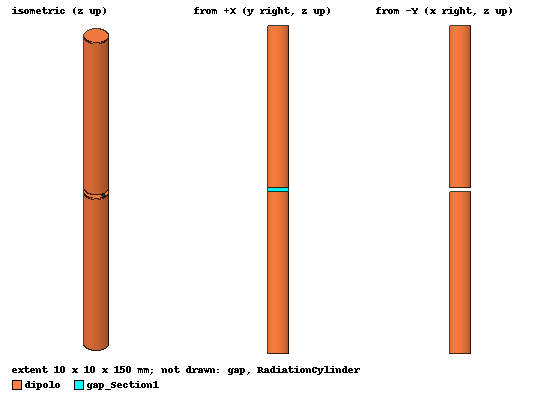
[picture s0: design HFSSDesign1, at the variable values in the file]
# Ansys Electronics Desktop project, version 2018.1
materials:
  vacuum: permittivity=1
  copper: permeability=0.999991 conductivity=58000000

design HFSSDesign1 (HFSS, DrivenModal, model units mm)
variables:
  largo = 15cm  # optimise 7.5cm..22.5cm
  gap = 0.2cm
  lambda = 120cm
  radio = largo/30
  length = largo cm
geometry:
  dipolo [copper] = cylinder(axis=Z, base_centre=(0mm, 0mm, -largo/2), radius=radio, height=largo)
  gap [vacuum] = cylinder(axis=Z, base_centre=(0mm, 0mm, -gap/2), radius=radio, height=gap)
  gap_1 = gap.copy()
  dipolo.subtract(gap_1)
  gap_Section1 = gap.section(plane=YZ)
  RadiationCylinder [vacuum] = cylinder(axis=Z, base_centre=(0mm, 0mm, -largo-1mm-lambda/4), radius=radio+lambda/4, height=largo*2+2mm+lambda/2)
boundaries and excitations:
  Rad1: Radiation Objects=RadiationCylinder
  1: Lumped Port Objects=gap_Section1 Modes{Mode1{IntLine{middle of gap_Section1.edge(at (0, 0, 1)) -> middle of gap_Section1.edge(at (0, 0, -1))} CharImp=Zpi RenormImp=50ohm}} Impedance=50ohm
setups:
  250MHz: HfssDriven Frequency=250MHz MaxDeltaS=0.02 MaximumPasses=6 MinimumPasses=1 MinimumConvergedPasses=1 PercentRefinement=30 BasisOrder=1 PortAccuracy=2
  1GHz: HfssDriven Frequency=1GHz MaxDeltaS=0.02 MaximumPasses=6 MinimumPasses=1 MinimumConvergedPasses=1 PercentRefinement=30 BasisOrder=1 PortAccuracy=2
  2GHz: HfssDriven Frequency=2GHz MaxDeltaS=0.02 MaximumPasses=6 MinimumPasses=1 MinimumConvergedPasses=1 PercentRefinement=30 BasisOrder=1 PortAccuracy=2
  3GHz: HfssDriven Frequency=3GHz MaxDeltaS=0.02 MaximumPasses=6 MinimumPasses=1 MinimumConvergedPasses=1 PercentRefinement=30 BasisOrder=1 PortAccuracy=2
  sweep: HfssDriven AdaptMultipleFreqs MultipleAdaptiveFreqsSetup{Broadband{Low=200MHz High=2GHz}} MaxDeltaS=0.02 MaximumPasses=6 MinimumPasses=1 MinimumConvergedPasses=1 PercentRefinement=30 BasisOrder=1 PortAccuracy=2
    sweep Sweep: 0.2GHz to 2GHz, 451 points; Type=Interpolating InterpTolerance=0.5 InterpMaxSolns=250 InterpUsePortImped=false PassivityErrorTolerance=0.0001
  sweep_len_opt: HfssDriven AdaptMultipleFreqs MultipleAdaptiveFreqsSetup{Broadband{Low=200MHz High=2GHz}} MaxDeltaS=0.02 MaximumPasses=6 MinimumPasses=1 MinimumConvergedPasses=1 PercentRefinement=30 BasisOrder=1 PortAccuracy=2
    sweep Sweep: 0.2GHz to 2GHz, 451 points; Type=Interpolating InterpTolerance=0.5 InterpMaxSolns=250 InterpUsePortImped=false PassivityErrorTolerance=0.0001
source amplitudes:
  1:1: 1W 0deg
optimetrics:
  ParametricSetup1: Parametric Sim._Setups=[sweep_len_opt]
    sweep largo: LIN 10cm 20cm 0.5cm
  ParametricSetup2: Parametric Sim._Setups=[sweep_len_opt]
    sweep largo: LIN 9cm 11cm 0.1cm
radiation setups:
  Infinite Sphere1: Infinite Sphere Theta=0deg..180deg step 2deg Phi=-180deg..180deg step 2deg
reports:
  Ganancia Dipolo a 250MHz: GainTotal vs Phi, Theta on 250MHz : LastAdaptive, Infinite Sphere1 [Freq=0.25GHz]
  Patrón de Radiación Dipolo a 250MHz: GainTotal vs Theta on 250MHz : LastAdaptive, Infinite Sphere1 [Phi=all Freq=0.25GHz]
  Ganancia Dipolo a 1GHz: GainTotal vs Phi, Theta on 1GHz : LastAdaptive, Infinite Sphere1 [Freq=1GHz]
  Patrón de Radiación Dipolo a 1GHz: GainTotal vs Theta on 1GHz : LastAdaptive, Infinite Sphere1 [Phi=all Freq=1GHz]
  Ganancia Dipolo a 2GHz: GainTotal vs Phi, Theta on 2GHz : LastAdaptive, Infinite Sphere1 [Freq=2GHz]
  Patrón de Radiación Dipolo a 2GHz: GainTotal vs Theta on 2GHz : LastAdaptive, Infinite Sphere1 [Phi=all Freq=2GHz]
  Ganancia Dipolo a 3 GHz: GainTotal vs Phi, Theta on 3GHz : LastAdaptive, Infinite Sphere1 [Freq=3GHz]
  Patrón de Radiación Dipolo a 3GHz: GainTotal vs Theta on 3GHz : LastAdaptive, Infinite Sphere1 [Phi=all Freq=3GHz]
  Reflexión de entrada Dipolo 15 cm: dB(S(1,1)) vs Freq on sweep : Sweep; markers minimo at 0.872GHz
  Reflexión de entrada variando largo del Dipolo: dB(S(1,1)) vs Freq on sweep_len_opt : Sweep [largo=9cm,9.5cm,9.9cm,10cm,10.1cm,10.5cm,11cm,12cm,13cm,14cm,15cm]; markers MX1 at x=1.3045742e+09
  Impedancia Dipolo 10 cm: re(Z(1,1)), im(Z(1,1)) vs Freq on sweep_len_opt : Sweep [largo=10cm]; markers MX1 at x=1.2989339e+09
